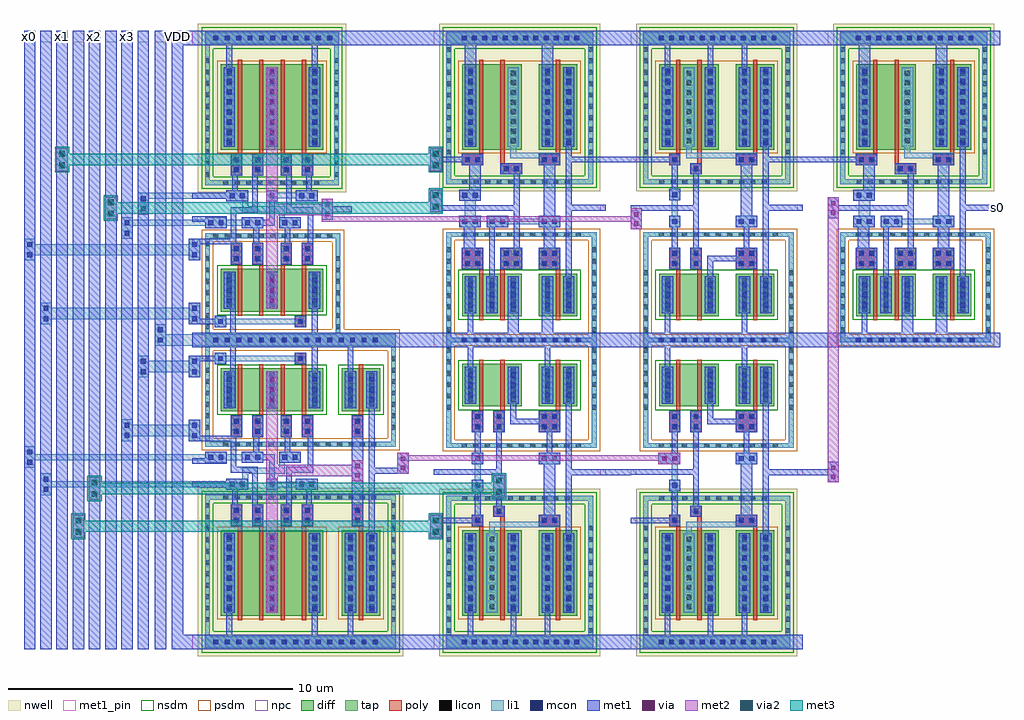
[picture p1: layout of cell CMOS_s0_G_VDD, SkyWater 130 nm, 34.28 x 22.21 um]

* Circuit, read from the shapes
.subckt CMOS_s0_G_VDD GND VDD s0 x0 x0_bar x1 x1_bar x2 x2_bar x3 x3_bar
XM1 n1 x3 GND GND sky130_fd_pr__nfet_01v8 w=1.5 l=0.15
XM2 n2 x0 GND GND sky130_fd_pr__nfet_01v8 w=1.5 l=0.15
XM3 n3 x0 n1 GND sky130_fd_pr__nfet_01v8 w=1.5 l=0.15
XM4 CMOS_AND_G_VDD_5/A x3 n2 GND sky130_fd_pr__nfet_01v8 w=1.5 l=0.15
XM5 n4 x0_bar n3 GND sky130_fd_pr__nfet_01v8 w=1.5 l=0.15
XM6 n5 x3_bar CMOS_AND_G_VDD_5/A GND sky130_fd_pr__nfet_01v8 w=1.5 l=0.15
XM7 GND x3_bar n4 GND sky130_fd_pr__nfet_01v8 w=1.5 l=0.15
XM8 GND x0_bar n5 GND sky130_fd_pr__nfet_01v8 w=1.5 l=0.15
XM9 CMOS_AND_G_VDD_4/B n3 GND GND sky130_fd_pr__nfet_01v8 w=1.5 l=0.15
XM10 n6 x1_bar GND GND sky130_fd_pr__nfet_01v8 w=1.5 l=0.15
XM11 n7 x1 GND GND sky130_fd_pr__nfet_01v8 w=1.5 l=0.15
XM12 n8 x2 n6 GND sky130_fd_pr__nfet_01v8 w=1.5 l=0.15
XM13 GND x2_bar n7 GND sky130_fd_pr__nfet_01v8 w=1.5 l=0.15
XM14 CMOS_AND_G_VDD_4/A n8 GND GND sky130_fd_pr__nfet_01v8 w=1.5 l=0.15
XM15 CMOS_AND_G_VDD_5/B n7 GND GND sky130_fd_pr__nfet_01v8 w=1.5 l=0.15
XM16 n9 CMOS_AND_G_VDD_4/B GND GND sky130_fd_pr__nfet_01v8 w=1.5 l=0.15
XM17 n10 CMOS_AND_G_VDD_5/B GND GND sky130_fd_pr__nfet_01v8 w=1.5 l=0.15
XM18 n11 CMOS_AND_G_VDD_4/A n9 GND sky130_fd_pr__nfet_01v8 w=1.5 l=0.15
XM19 n12 CMOS_AND_G_VDD_5/A n10 GND sky130_fd_pr__nfet_01v8 w=1.5 l=0.15
XM20 CMOS_AND_G_VDD_4/AND n11 GND GND sky130_fd_pr__nfet_01v8 w=1.5 l=0.15
XM21 CMOS_OR_G_VDD_3/A n12 GND GND sky130_fd_pr__nfet_01v8 w=1.5 l=0.15
XM22 n13 CMOS_OR_G_VDD_3/A GND GND sky130_fd_pr__nfet_01v8 w=1.5 l=0.15
XM23 GND CMOS_AND_G_VDD_4/AND n13 GND sky130_fd_pr__nfet_01v8 w=1.5 l=0.15
XM24 s0 n13 GND GND sky130_fd_pr__nfet_01v8 w=1.5 l=0.15
XM25 n14 x0_bar VDD VDD sky130_fd_pr__pfet_01v8 w=3 l=0.15
XM26 n15 x3_bar VDD VDD sky130_fd_pr__pfet_01v8 w=3 l=0.15
XM27 n3 x3 n14 VDD sky130_fd_pr__pfet_01v8 w=3 l=0.15
XM28 CMOS_AND_G_VDD_5/A x0 n15 VDD sky130_fd_pr__pfet_01v8 w=3 l=0.15
XM29 n16 x3_bar n3 VDD sky130_fd_pr__pfet_01v8 w=3 l=0.15
XM30 n17 x0_bar CMOS_AND_G_VDD_5/A VDD sky130_fd_pr__pfet_01v8 w=3 l=0.15
XM31 VDD x0 n16 VDD sky130_fd_pr__pfet_01v8 w=3 l=0.15
XM32 VDD x3 n17 VDD sky130_fd_pr__pfet_01v8 w=3 l=0.15
XM33 CMOS_AND_G_VDD_4/B n3 VDD VDD sky130_fd_pr__pfet_01v8 w=3 l=0.15
XM34 n8 x1_bar VDD VDD sky130_fd_pr__pfet_01v8 w=3 l=0.15
XM35 n18 x1 VDD VDD sky130_fd_pr__pfet_01v8 w=3 l=0.15
XM36 VDD x2 n8 VDD sky130_fd_pr__pfet_01v8 w=3 l=0.15
XM37 n7 x2_bar n18 VDD sky130_fd_pr__pfet_01v8 w=3 l=0.15
XM38 CMOS_AND_G_VDD_4/A n8 VDD VDD sky130_fd_pr__pfet_01v8 w=3 l=0.15
XM39 CMOS_AND_G_VDD_5/B n7 VDD VDD sky130_fd_pr__pfet_01v8 w=3 l=0.15
XM40 n11 CMOS_AND_G_VDD_4/B VDD VDD sky130_fd_pr__pfet_01v8 w=3 l=0.15
XM41 n12 CMOS_AND_G_VDD_5/B VDD VDD sky130_fd_pr__pfet_01v8 w=3 l=0.15
XM42 VDD CMOS_AND_G_VDD_4/A n11 VDD sky130_fd_pr__pfet_01v8 w=3 l=0.15
XM43 VDD CMOS_AND_G_VDD_5/A n12 VDD sky130_fd_pr__pfet_01v8 w=3 l=0.15
XM44 CMOS_AND_G_VDD_4/AND n11 VDD VDD sky130_fd_pr__pfet_01v8 w=3 l=0.15
XM45 CMOS_OR_G_VDD_3/A n12 VDD VDD sky130_fd_pr__pfet_01v8 w=3 l=0.15
XM46 n19 CMOS_OR_G_VDD_3/A VDD VDD sky130_fd_pr__pfet_01v8 w=3 l=0.15
XM47 n13 CMOS_AND_G_VDD_4/AND n19 VDD sky130_fd_pr__pfet_01v8 w=3 l=0.15
XM48 s0 n13 VDD VDD sky130_fd_pr__pfet_01v8 w=3 l=0.15
.ends

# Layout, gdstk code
import gdstk
lib = gdstk.Library(unit=1e-6, precision=1e-09)
def R(c, l, rs):  # rectangles x0, y0, x1, y1
    for r in rs: c.add(gdstk.rectangle(r[:2], r[2:], *l))
def A(c, l, x, y, w, h, nx, ny, dx, dy):  # array of equal rectangles
    R(c, l, [(x+i*dx, y+j*dy, x+i*dx+w, y+j*dy+h) for i in range(nx) for j in range(ny)])
nwell = (64, 20)
diff = (65, 20)
tap = (65, 44)
poly = (66, 20)
licon = (66, 44)
li1 = (67, 20)
mcon = (67, 44)
met1_pin = (68, 16)
met1 = (68, 20)
via = (68, 44)
met2 = (69, 20)
via2 = (69, 44)
met3 = (70, 20)
nsdm = (93, 44)
psdm = (94, 20)
npc = (95, 20)

cmos_xor_g_vdd = lib.new_cell('CMOS_XOR_G_VDD')
R(cmos_xor_g_vdd, nwell, [(0.2,5.56,5.4,11.48)])
R(cmos_xor_g_vdd, diff, [(1,1.375,4.6,2.875), (1,7.06,4.6,10.06)])
R(cmos_xor_g_vdd, tap, [(0.45,0.125,5.205,0.625), (0.45,0.625,0.62,3.955), (5.035,0.625,5.205,3.955), (0.45,3.955,5.205,4.125), (0.45,5.81,5.15,5.98), (0.45,5.98,0.62,10.73), (4.98,5.98,5.15,10.73), (0.45,10.73,5.15,11.23)])
A(cmos_xor_g_vdd, poly, 1.6, 1.225, 0.15, 1.8, 4, 1, 0.75, 0)
A(cmos_xor_g_vdd, poly, 1.6, 6.91, 0.15, 3.3, 4, 1, 0.75, 0)
R(cmos_xor_g_vdd, poly, [(3.6,0.825,4,1.225), (1.35,3.025,1.75,3.785), (2.1,3.025,2.5,3.785), (3.1,3.025,3.5,3.785), (3.85,3.025,4.25,3.785), (1.35,6.15,1.75,6.91), (2.1,6.15,2.5,6.91), (3.1,6.15,3.5,6.91), (3.85,6.15,4.25,6.91)])
A(cmos_xor_g_vdd, licon, 0.745, 0.29, 0.17, 0.17, 11, 2, 0.4, 3.665)
A(cmos_xor_g_vdd, licon, 0.45, 0.75, 0.17, 0.17, 1, 7, 0, 0.4)
A(cmos_xor_g_vdd, licon, 5.035, 0.75, 0.17, 0.17, 1, 7, 0, 0.4)
A(cmos_xor_g_vdd, licon, 1.215, 1.53, 0.17, 0.17, 3, 4, 1.5, 0.34)
A(cmos_xor_g_vdd, licon, 1.09, 5.81, 0.17, 0.17, 9, 1, 0.4, 0)
A(cmos_xor_g_vdd, licon, 0.45, 6.105, 0.17, 0.17, 1, 11, 0, 0.4)
A(cmos_xor_g_vdd, licon, 4.98, 6.105, 0.17, 0.17, 1, 11, 0, 0.4)
A(cmos_xor_g_vdd, licon, 1.215, 7.285, 0.17, 0.17, 3, 8, 1.5, 0.34)
A(cmos_xor_g_vdd, licon, 0.745, 10.895, 0.17, 0.17, 11, 1, 0.4, 0)
R(cmos_xor_g_vdd, licon, [(3.715,0.94,3.885,1.11), (1.465,3.14,1.635,3.31), (2.215,3.14,2.385,3.31), (3.215,3.14,3.385,3.31), (3.965,3.14,4.135,3.31), (1.465,3.5,1.635,3.67), (2.215,3.5,2.385,3.67), (3.215,3.5,3.385,3.67), (3.965,3.5,4.135,3.67), (0.45,3.66,0.62,3.83), (1.465,6.265,1.635,6.435), (2.215,6.265,2.385,6.435), (3.215,6.265,3.385,6.435), (3.965,6.265,4.135,6.435), (1.465,6.625,1.635,6.795), (2.215,6.625,2.385,6.795), (3.215,6.625,3.385,6.795), (3.965,6.625,4.135,6.795)])
A(cmos_xor_g_vdd, li1, 1.1, 1.475, 0.4, 1.3, 3, 1, 1.5, 0)
A(cmos_xor_g_vdd, li1, 1.1, 7.16, 0.4, 2.8, 3, 1, 1.5, 0)
R(cmos_xor_g_vdd, li1, [(0.45,0.175,5.205,0.575), (0.45,0.575,0.62,3.955), (5.035,0.575,5.205,3.955), (0.79,0.825,1.19,0.925), (3.6,0.825,4,0.925), (0.79,0.925,4,1.125), (0.79,1.125,1.19,1.225), (3.6,1.125,4,1.225), (1.35,3.025,1.75,3.785), (2.1,3.025,2.5,3.785), (3.1,3.025,3.5,3.785), (3.85,3.025,4.25,3.785), (0.45,3.955,5.205,4.125), (0.45,4.295,1.21,4.395), (1.74,4.295,2.5,4.395), (3.05,4.295,3.81,4.695), (0.45,4.395,2.5,4.595), (0.45,4.595,1.21,4.695), (1.74,4.595,2.5,4.695), (3.05,4.695,3.25,4.865), (1.76,4.865,3.25,5.065), (1.76,5.065,1.96,5.24), (1.2,5.24,1.96,5.64), (2.6,5.24,3,5.345), (3.64,5.24,4.4,5.345), (2.6,5.345,4.4,5.545), (2.6,5.545,3,5.64), (3.64,5.545,4.4,5.64), (0.45,5.81,5.15,5.98), (0.45,5.98,0.62,10.78), (4.98,5.98,5.15,10.78), (1.35,6.15,1.75,6.91), (2.1,6.15,2.5,6.91), (3.1,6.15,3.5,6.91), (3.85,6.15,4.25,6.91), (0.45,10.78,5.15,11.18)])
A(cmos_xor_g_vdd, mcon, 0.745, 0.29, 0.17, 0.17, 11, 2, 0.4, 10.605)
A(cmos_xor_g_vdd, mcon, 1.215, 1.68, 0.17, 0.17, 3, 3, 1.5, 0.36)
A(cmos_xor_g_vdd, mcon, 1.675, 5.355, 0.17, 0.17, 3, 1, 1.04, 0)
A(cmos_xor_g_vdd, mcon, 1.215, 7.215, 0.17, 0.17, 3, 8, 1.5, 0.36)
R(cmos_xor_g_vdd, mcon, [(0.905,0.94,1.075,1.11), (3.715,0.94,3.885,1.11), (1.465,3.14,1.635,3.31), (2.215,3.14,2.385,3.31), (3.215,3.14,3.385,3.31), (3.965,3.14,4.135,3.31), (1.465,3.5,1.635,3.67), (2.215,3.5,2.385,3.67), (3.215,3.5,3.385,3.67), (3.965,3.5,4.135,3.67), (0.565,4.41,0.735,4.58), (0.925,4.41,1.095,4.58), (1.855,4.41,2.025,4.58), (2.215,4.41,2.385,4.58), (3.165,4.41,3.335,4.58), (3.525,4.41,3.695,4.58), (1.315,5.355,1.485,5.525), (4.115,5.355,4.285,5.525), (1.465,6.265,1.635,6.435), (2.215,6.265,2.385,6.435), (3.215,6.265,3.385,6.435), (3.965,6.265,4.135,6.435), (1.465,6.625,1.635,6.795), (2.215,6.625,2.385,6.795), (3.215,6.625,3.385,6.795), (3.965,6.625,4.135,6.795)])
R(cmos_xor_g_vdd, met1_pin, [(0,0.125,0.5,0.625), (0,0.925,0.2,1.125), (0,3.73,0.2,3.93), (0,4.53,0.2,4.73), (5.4,4.865,5.6,5.065), (0,5.34,0.2,5.54), (0,10.73,0.5,11.23)])
A(cmos_xor_g_vdd, met1, 1.1, 7.16, 0.4, 2.8, 3, 1, 1.5, 0)
R(cmos_xor_g_vdd, met1, [(0,0.125,5.655,0.625), (1.33,0.625,1.53,1.475), (4.2,0.625,4.4,1.475), (0.79,0.825,1.19,0.925), (3.6,0.825,4,1.225), (0,0.925,1.19,1.125), (0.79,1.125,1.19,1.225), (1.1,1.475,1.53,2.775), (2.6,1.475,3,2.775), (4.1,1.475,4.5,2.775), (1.35,3.025,1.75,3.73), (2.1,3.025,2.5,3.785), (3.1,3.025,3.5,3.785), (3.85,3.025,4.25,3.785), (0,3.73,1.75,3.785), (0,3.785,1.55,3.93), (2.15,3.785,2.35,4.295), (3.25,3.785,3.45,4.295), (4.05,3.785,4.25,4.835), (1.35,3.93,1.55,4.835), (0.45,4.295,1.21,4.53), (1.74,4.295,2.5,4.395), (3.05,4.295,3.81,4.695), (1.74,4.395,2.9,4.595), (0,4.53,1.21,4.73), (1.74,4.595,2.5,4.695), (2.7,4.595,2.9,5.24), (4.54,4.605,4.94,4.865), (1.35,4.835,2.3,5.035), (3.3,4.835,4.25,5.035), (4.54,4.865,5.6,5.065), (2.1,5.035,2.3,6.15), (3.3,5.035,3.5,6.15), (4.54,5.065,4.94,5.335), (1.2,5.24,1.96,5.34), (2.6,5.24,3,5.64), (3.64,5.24,4.4,5.64), (0,5.34,1.96,5.54), (1.2,5.54,1.96,5.64), (1.4,5.64,1.6,6.15), (4,5.64,4.2,6.15), (1.35,6.15,1.75,6.91), (2.1,6.15,2.5,6.91), (3.1,6.15,3.5,6.91), (3.85,6.15,4.25,6.91), (1.2,9.96,1.4,10.73), (4.2,9.96,4.4,10.73), (0,10.73,5.6,11.23)])
A(cmos_xor_g_vdd, via, 2.725, 1.69, 0.15, 0.15, 1, 3, 0, 0.36)
A(cmos_xor_g_vdd, via, 2.725, 7.225, 0.15, 0.15, 1, 8, 0, 0.36)
R(cmos_xor_g_vdd, via, [(4.665,4.73,4.815,4.88), (4.665,5.05,4.815,5.2)])
R(cmos_xor_g_vdd, met2, [(2.6,1.475,3,4.765), (4.54,4.605,4.94,4.765), (2.6,4.765,4.94,5.165), (2.6,5.165,3,9.96), (4.54,5.165,4.94,5.335)])
R(cmos_xor_g_vdd, nsdm, [(0.875,1.25,4.725,3), (0.325,5.685,5.275,6.105), (0.325,6.105,0.745,10.605), (4.855,6.105,5.275,10.605), (0.325,10.605,5.275,11.355)])
R(cmos_xor_g_vdd, psdm, [(0.325,0,5.33,0.75), (0.325,0.75,0.745,3.83), (4.91,0.75,5.33,3.83), (0.325,3.83,5.33,4.25), (0.875,6.935,4.725,10.185)])
R(cmos_xor_g_vdd, npc, [(3.615,0.84,3.985,1.21), (1.365,3.04,1.735,3.77), (2.115,3.04,2.485,3.77), (3.115,3.04,3.485,3.77), (3.865,3.04,4.235,3.77), (1.365,6.165,1.735,6.895), (2.115,6.165,2.485,6.895), (3.115,6.165,3.485,6.895), (3.865,6.165,4.235,6.895)])
cmos_xor_g_vdd.add(gdstk.Label('XOR', (5.5,4.965), layer=68, texttype=5))
cmos_xor_g_vdd.add(gdstk.Label('B_bar', (0.1,5.44), layer=68, texttype=5))
cmos_xor_g_vdd.add(gdstk.Label('B', (0.1,4.63), layer=68, texttype=5))
cmos_xor_g_vdd.add(gdstk.Label('A', (0.1,3.83), layer=68, texttype=5))
cmos_xor_g_vdd.add(gdstk.Label('A_bar', (0.1,1.025), layer=68, texttype=5))
cmos_xor_g_vdd.add(gdstk.Label('VDD', (0.25,10.98), layer=68, texttype=5))
cmos_xor_g_vdd.add(gdstk.Label('GND', (0.25,0.375), layer=68, texttype=5))

cmos_xnor_g_vdd = lib.new_cell('CMOS_XNOR_G_VDD')
R(cmos_xnor_g_vdd, nwell, [(0.2,5.56,7.405,11.48)])
R(cmos_xnor_g_vdd, diff, [(1,1.375,4.6,2.875), (5.255,1.375,6.605,2.875), (1,7.06,4.6,10.06), (5.255,7.06,6.605,10.06)])
R(cmos_xnor_g_vdd, tap, [(0.45,0.125,7.155,0.625), (0.45,0.625,0.62,3.955), (6.985,0.625,7.155,3.955), (0.45,3.955,7.155,4.125), (0.45,5.81,7.155,5.98), (0.45,5.98,0.62,10.73), (6.985,5.98,7.155,10.73), (0.45,10.73,7.155,11.23)])
A(cmos_xnor_g_vdd, poly, 1.6, 1.225, 0.15, 1.8, 4, 1, 0.75, 0)
A(cmos_xnor_g_vdd, poly, 1.6, 6.91, 0.15, 3.3, 4, 1, 0.75, 0)
R(cmos_xnor_g_vdd, poly, [(3.6,0.825,4,1.225), (5.855,1.225,6.005,3.025), (1.35,3.025,1.75,3.785), (2.1,3.025,2.5,3.785), (3.1,3.025,3.5,3.785), (3.85,3.025,4.25,3.785), (5.605,3.025,6.005,3.785), (1.35,6.15,1.75,6.91), (2.1,6.15,2.5,6.91), (3.1,6.15,3.5,6.91), (3.85,6.15,4.25,6.91), (5.605,6.15,6.005,6.91), (5.855,6.91,6.005,10.21)])
A(cmos_xnor_g_vdd, licon, 0.745, 0.29, 0.17, 0.17, 15, 2, 0.4, 10.605)
A(cmos_xnor_g_vdd, licon, 0.45, 0.95, 0.17, 0.17, 1, 7, 0, 0.4)
A(cmos_xnor_g_vdd, licon, 6.985, 0.95, 0.17, 0.17, 1, 7, 0, 0.4)
A(cmos_xnor_g_vdd, licon, 1.215, 1.53, 0.17, 0.17, 3, 4, 1.5, 0.34)
A(cmos_xnor_g_vdd, licon, 5.47, 1.53, 0.17, 0.17, 1, 4, 0, 0.34)
A(cmos_xnor_g_vdd, licon, 6.22, 1.53, 0.17, 0.17, 1, 4, 0, 0.34)
A(cmos_xnor_g_vdd, licon, 1.09, 3.955, 0.17, 0.17, 14, 2, 0.4, 1.855)
A(cmos_xnor_g_vdd, licon, 0.45, 6.105, 0.17, 0.17, 1, 11, 0, 0.4)
A(cmos_xnor_g_vdd, licon, 6.985, 6.105, 0.17, 0.17, 1, 11, 0, 0.4)
A(cmos_xnor_g_vdd, licon, 1.215, 7.285, 0.17, 0.17, 3, 8, 1.5, 0.34)
A(cmos_xnor_g_vdd, licon, 5.47, 7.285, 0.17, 0.17, 1, 8, 0, 0.34)
A(cmos_xnor_g_vdd, licon, 6.22, 7.285, 0.17, 0.17, 1, 8, 0, 0.34)
R(cmos_xnor_g_vdd, licon, [(3.715,0.94,3.885,1.11), (1.465,3.14,1.635,3.31), (2.215,3.14,2.385,3.31), (3.215,3.14,3.385,3.31), (3.965,3.14,4.135,3.31), (5.72,3.14,5.89,3.31), (1.465,3.5,1.635,3.67), (2.215,3.5,2.385,3.67), (3.215,3.5,3.385,3.67), (3.965,3.5,4.135,3.67), (5.72,3.5,5.89,3.67), (1.465,6.265,1.635,6.435), (2.215,6.265,2.385,6.435), (3.215,6.265,3.385,6.435), (3.965,6.265,4.135,6.435), (5.72,6.265,5.89,6.435), (1.465,6.625,1.635,6.795), (2.215,6.625,2.385,6.795), (3.215,6.625,3.385,6.795), (3.965,6.625,4.135,6.795), (5.72,6.625,5.89,6.795)])
A(cmos_xnor_g_vdd, li1, 1.1, 1.475, 0.4, 1.3, 3, 1, 1.5, 0)
A(cmos_xnor_g_vdd, li1, 1.1, 7.16, 0.4, 2.8, 3, 1, 1.5, 0)
R(cmos_xnor_g_vdd, li1, [(0.45,0.175,7.155,0.575), (0.45,0.575,0.62,3.955), (6.985,0.575,7.155,3.955), (0.79,0.825,1.19,0.925), (3.6,0.825,4,0.925), (0.79,0.925,4,1.125), (0.79,1.125,1.19,1.225), (3.6,1.125,4,1.225), (5.355,1.475,5.755,2.775), (6.105,1.475,6.505,2.775), (1.35,3.025,1.75,3.785), (2.1,3.025,2.5,3.785), (3.1,3.025,3.5,3.785), (3.85,3.025,4.25,3.785), (5.605,3.025,6.005,3.785), (0.45,3.955,7.155,4.125), (0.45,4.295,1.21,4.395), (1.74,4.295,2.5,4.395), (3.05,4.295,3.81,4.695), (0.45,4.395,2.5,4.595), (0.45,4.595,1.21,4.695), (1.74,4.595,2.5,4.695), (3.05,4.695,3.25,4.865), (1.76,4.865,3.25,5.065), (1.76,5.065,1.96,5.24), (1.2,5.24,1.96,5.64), (2.6,5.24,3,5.345), (3.64,5.24,4.4,5.345), (2.6,5.345,4.4,5.545), (2.6,5.545,3,5.64), (3.64,5.545,4.4,5.64), (0.45,5.81,7.155,5.98), (0.45,5.98,0.62,10.78), (6.985,5.98,7.155,10.78), (1.35,6.15,1.75,6.91), (2.1,6.15,2.5,6.91), (3.1,6.15,3.5,6.91), (3.85,6.15,4.25,6.91), (5.605,6.15,6.005,6.91), (5.355,7.16,5.755,9.96), (6.105,7.16,6.505,9.96), (0.45,10.78,7.155,11.18)])
A(cmos_xnor_g_vdd, mcon, 0.745, 0.29, 0.17, 0.17, 15, 2, 0.4, 10.605)
A(cmos_xnor_g_vdd, mcon, 1.215, 1.68, 0.17, 0.17, 3, 3, 1.5, 0.36)
A(cmos_xnor_g_vdd, mcon, 5.47, 1.68, 0.17, 0.17, 1, 3, 0, 0.36)
A(cmos_xnor_g_vdd, mcon, 6.22, 1.68, 0.17, 0.17, 1, 3, 0, 0.36)
A(cmos_xnor_g_vdd, mcon, 1.675, 5.355, 0.17, 0.17, 3, 1, 1.04, 0)
A(cmos_xnor_g_vdd, mcon, 1.215, 7.215, 0.17, 0.17, 3, 8, 1.5, 0.36)
A(cmos_xnor_g_vdd, mcon, 5.47, 7.215, 0.17, 0.17, 1, 8, 0, 0.36)
A(cmos_xnor_g_vdd, mcon, 6.22, 7.215, 0.17, 0.17, 1, 8, 0, 0.36)
R(cmos_xnor_g_vdd, mcon, [(0.905,0.94,1.075,1.11), (3.715,0.94,3.885,1.11), (1.465,3.14,1.635,3.31), (2.215,3.14,2.385,3.31), (3.215,3.14,3.385,3.31), (3.965,3.14,4.135,3.31), (5.72,3.14,5.89,3.31), (1.465,3.5,1.635,3.67), (2.215,3.5,2.385,3.67), (3.215,3.5,3.385,3.67), (3.965,3.5,4.135,3.67), (5.72,3.5,5.89,3.67), (0.565,4.41,0.735,4.58), (0.925,4.41,1.095,4.58), (1.855,4.41,2.025,4.58), (2.215,4.41,2.385,4.58), (3.165,4.41,3.335,4.58), (3.525,4.41,3.695,4.58), (1.315,5.355,1.485,5.525), (4.115,5.355,4.285,5.525), (1.465,6.265,1.635,6.435), (2.215,6.265,2.385,6.435), (3.215,6.265,3.385,6.435), (3.965,6.265,4.135,6.435), (5.72,6.265,5.89,6.435), (1.465,6.625,1.635,6.795), (2.215,6.625,2.385,6.795), (3.215,6.625,3.385,6.795), (3.965,6.625,4.135,6.795), (5.72,6.625,5.89,6.795)])
R(cmos_xnor_g_vdd, met1_pin, [(0,0.125,0.5,0.625), (0,0.925,0.2,1.125), (0,3.73,0.2,3.93), (0,4.53,0.2,4.73), (7.405,4.865,7.605,5.065), (0,5.34,0.2,5.54), (0,10.73,0.5,11.23)])
A(cmos_xnor_g_vdd, met1, 1.1, 7.16, 0.4, 2.8, 3, 1, 1.5, 0)
R(cmos_xnor_g_vdd, met1, [(0,0.125,7.605,0.625), (1.33,0.625,1.53,1.475), (4.2,0.625,4.4,1.475), (5.455,0.625,5.655,1.475), (0.79,0.825,1.19,0.925), (3.6,0.825,4,1.225), (0,0.925,1.19,1.125), (0.79,1.125,1.19,1.225), (1.1,1.475,1.53,2.775), (2.6,1.475,3,2.775), (4.1,1.475,4.5,2.775), (5.355,1.475,5.755,2.775), (6.105,1.475,6.505,2.775), (6.205,2.775,6.405,4.865), (1.35,3.025,1.75,3.73), (2.1,3.025,2.5,3.785), (3.1,3.025,3.5,3.785), (3.85,3.025,4.25,3.785), (5.605,3.025,6.005,6.91), (0,3.73,1.75,3.785), (0,3.785,1.55,3.93), (2.15,3.785,2.35,4.295), (3.25,3.785,3.45,4.295), (4.05,3.785,4.25,4.835), (1.35,3.93,1.55,4.835), (0.45,4.295,1.21,4.53), (1.74,4.295,2.5,4.395), (3.05,4.295,3.81,4.695), (1.74,4.395,2.9,4.595), (0,4.53,1.21,4.73), (1.74,4.595,2.5,4.695), (2.7,4.595,2.9,5.24), (1.35,4.835,2.3,5.035), (3.3,4.835,4.25,5.035), (6.205,4.865,7.605,5.065), (2.1,5.035,2.3,6.15), (3.3,5.035,3.5,6.15), (6.205,5.065,6.405,7.16), (1.2,5.24,1.96,5.34), (2.6,5.24,3,5.64), (3.64,5.24,4.4,5.64), (0,5.34,1.96,5.54), (1.2,5.54,1.96,5.64), (1.4,5.64,1.6,6.15), (4,5.64,4.2,6.15), (1.35,6.15,1.75,6.91), (2.1,6.15,2.5,6.91), (3.1,6.15,3.5,6.91), (3.85,6.15,4.25,6.91), (5.355,7.16,5.755,9.96), (6.105,7.16,6.505,9.96), (1.2,9.96,1.4,10.73), (4.2,9.96,4.4,10.73), (5.455,9.96,5.655,10.73), (0,10.73,7.605,11.23)])
A(cmos_xnor_g_vdd, via, 2.725, 1.69, 0.15, 0.15, 1, 3, 0, 0.36)
A(cmos_xnor_g_vdd, via, 2.725, 7.225, 0.15, 0.15, 1, 8, 0, 0.36)
R(cmos_xnor_g_vdd, via, [(5.73,4.73,5.88,4.88), (5.73,5.05,5.88,5.2)])
R(cmos_xnor_g_vdd, met2, [(2.6,1.475,3,4.765), (5.605,4.605,6.005,4.765), (2.6,4.765,6.005,5.165), (2.6,5.165,3,9.96), (5.605,5.165,6.005,5.335)])
R(cmos_xnor_g_vdd, nsdm, [(0.875,1.25,4.725,3), (5.13,1.25,6.73,3), (0.325,5.685,7.28,6.105), (0.325,6.105,0.745,10.605), (6.86,6.105,7.28,10.605), (0.325,10.605,7.28,11.355)])
R(cmos_xnor_g_vdd, psdm, [(0.325,0,7.28,0.75), (0.325,0.75,0.745,3.83), (6.86,0.75,7.28,3.83), (0.325,3.83,7.28,4.25), (0.875,6.935,4.725,10.185), (5.13,6.935,6.73,10.185)])
R(cmos_xnor_g_vdd, npc, [(3.615,0.84,3.985,1.21), (1.365,3.04,1.735,3.77), (2.115,3.04,2.485,3.77), (3.115,3.04,3.485,3.77), (3.865,3.04,4.235,3.77), (5.62,3.04,5.99,3.77), (1.365,6.165,1.735,6.895), (2.115,6.165,2.485,6.895), (3.115,6.165,3.485,6.895), (3.865,6.165,4.235,6.895), (5.62,6.165,5.99,6.895)])
cmos_xnor_g_vdd.add(gdstk.Label('B_bar', (0.1,5.44), layer=68, texttype=5))
cmos_xnor_g_vdd.add(gdstk.Label('B', (0.1,4.63), layer=68, texttype=5))
cmos_xnor_g_vdd.add(gdstk.Label('A', (0.1,3.83), layer=68, texttype=5))
cmos_xnor_g_vdd.add(gdstk.Label('A_bar', (0.1,1.025), layer=68, texttype=5))
cmos_xnor_g_vdd.add(gdstk.Label('XNOR', (7.505,4.965), layer=68, texttype=5))
cmos_xnor_g_vdd.add(gdstk.Label('VDD', (0.25,10.98), layer=68, texttype=5))
cmos_xnor_g_vdd.add(gdstk.Label('GND', (0.25,0.375), layer=68, texttype=5))

cmos_or_g_vdd = lib.new_cell('CMOS_OR_G_VDD')
R(cmos_or_g_vdd, nwell, [(0.2,4.915,5.85,10.795)])
R(cmos_or_g_vdd, diff, [(1,0.525,3.1,2.025), (3.7,0.525,5.05,2.025), (1,6.375,3.1,9.375), (3.7,6.375,5.05,9.375)])
R(cmos_or_g_vdd, tap, [(0.45,-0.395,5.73,-0.225), (0.45,-0.225,0.62,3.31), (5.56,-0.225,5.73,3.31), (0.45,3.31,5.73,3.48), (0.45,5.165,5.6,5.335), (0.45,5.335,0.62,10.045), (5.43,5.335,5.6,10.045), (0.45,10.045,5.6,10.545)])
R(cmos_or_g_vdd, poly, [(1.6,0.375,1.75,2.175), (2.35,0.375,2.5,2.175), (4.3,0.375,4.45,2.175), (0.99,2.175,1.75,2.935), (2.35,2.175,3.11,2.935), (3.69,2.175,4.45,2.935), (2.35,5.505,3.11,5.905), (0.99,5.825,1.75,6.225), (3.69,5.825,4.45,6.225), (2.35,5.905,2.5,9.525), (1.6,6.225,1.75,9.525), (4.3,6.225,4.45,9.525)])
A(cmos_or_g_vdd, licon, 0.995, -0.395, 0.17, 0.17, 11, 2, 0.4, 3.705)
A(cmos_or_g_vdd, licon, 0.45, -0.03, 0.17, 0.17, 1, 8, 0, 0.4)
A(cmos_or_g_vdd, licon, 5.56, -0.03, 0.17, 0.17, 1, 8, 0, 0.4)
A(cmos_or_g_vdd, licon, 1.215, 0.68, 0.17, 0.17, 3, 4, 0.75, 0.34)
A(cmos_or_g_vdd, licon, 3.915, 0.68, 0.17, 0.17, 1, 4, 0, 0.34)
A(cmos_or_g_vdd, licon, 4.665, 0.68, 0.17, 0.17, 1, 4, 0, 0.34)
A(cmos_or_g_vdd, licon, 1.015, 5.165, 0.17, 0.17, 10, 1, 0.4, 0)
A(cmos_or_g_vdd, licon, 0.45, 6.21, 0.17, 0.17, 1, 10, 0, 0.4)
A(cmos_or_g_vdd, licon, 5.43, 6.21, 0.17, 0.17, 1, 10, 0, 0.4)
A(cmos_or_g_vdd, licon, 1.215, 6.6, 0.17, 0.17, 1, 8, 0, 0.34)
A(cmos_or_g_vdd, licon, 2.715, 6.6, 0.17, 0.17, 1, 8, 0, 0.34)
A(cmos_or_g_vdd, licon, 3.915, 6.6, 0.17, 0.17, 1, 8, 0, 0.34)
A(cmos_or_g_vdd, licon, 4.665, 6.6, 0.17, 0.17, 1, 8, 0, 0.34)
A(cmos_or_g_vdd, licon, 0.99, 10.21, 0.17, 0.17, 12, 1, 0.36, 0)
R(cmos_or_g_vdd, licon, [(1.105,2.29,1.275,2.46), (1.465,2.29,1.635,2.46), (2.465,2.29,2.635,2.46), (2.825,2.29,2.995,2.46), (3.805,2.29,3.975,2.46), (4.165,2.29,4.335,2.46), (1.105,2.65,1.275,2.82), (1.465,2.65,1.635,2.82), (2.465,2.65,2.635,2.82), (2.825,2.65,2.995,2.82), (3.805,2.65,3.975,2.82), (4.165,2.65,4.335,2.82), (2.465,5.62,2.635,5.79), (2.825,5.62,2.995,5.79), (1.105,5.94,1.275,6.11), (1.465,5.94,1.635,6.11), (3.805,5.94,3.975,6.11), (4.165,5.94,4.335,6.11)])
A(cmos_or_g_vdd, li1, 1.1, 0.625, 0.4, 1.3, 3, 1, 0.75, 0)
R(cmos_or_g_vdd, li1, [(0.45,-0.395,5.73,-0.225), (0.45,-0.225,0.62,3.31), (5.56,-0.225,5.73,3.31), (3.8,0.625,4.2,1.925), (4.55,0.625,4.95,1.925), (0.99,2.175,1.75,2.935), (2.35,2.175,3.11,2.935), (3.69,2.175,4.45,2.935), (0.45,3.31,5.73,3.48), (0.9,3.65,1.66,4.05), (1.86,3.65,2.62,3.75), (3.69,3.65,4.45,3.75), (1.86,3.75,4.45,3.95), (1.86,3.95,2.62,4.05), (3.69,3.95,4.45,4.05), (1.09,4.05,1.49,4.575), (0.9,4.575,1.66,4.975), (0.45,5.165,5.6,5.335), (0.45,5.335,0.62,10.095), (5.43,5.335,5.6,10.095), (2.35,5.505,3.11,5.905), (0.99,5.825,1.75,6.225), (3.69,5.825,4.45,6.075), (2.7,6.075,4.45,6.275), (2.7,6.275,2.9,6.475), (1.1,6.475,1.5,9.275), (2.6,6.475,3,9.275), (3.8,6.475,4.2,9.275), (4.55,6.475,4.95,9.275), (0.45,10.095,5.6,10.495)])
A(cmos_or_g_vdd, mcon, 0.995, -0.395, 0.17, 0.17, 11, 1, 0.4, 0)
A(cmos_or_g_vdd, mcon, 1.215, 0.83, 0.17, 0.17, 3, 3, 0.75, 0.36)
A(cmos_or_g_vdd, mcon, 3.915, 0.83, 0.17, 0.17, 1, 3, 0, 0.36)
A(cmos_or_g_vdd, mcon, 4.665, 0.83, 0.17, 0.17, 1, 3, 0, 0.36)
A(cmos_or_g_vdd, mcon, 1.215, 6.53, 0.17, 0.17, 1, 8, 0, 0.36)
A(cmos_or_g_vdd, mcon, 3.915, 6.53, 0.17, 0.17, 1, 8, 0, 0.36)
A(cmos_or_g_vdd, mcon, 4.665, 6.53, 0.17, 0.17, 1, 8, 0, 0.36)
A(cmos_or_g_vdd, mcon, 0.99, 10.21, 0.17, 0.17, 12, 1, 0.36, 0)
R(cmos_or_g_vdd, mcon, [(1.105,2.29,1.275,2.46), (1.465,2.29,1.635,2.46), (2.465,2.29,2.635,2.46), (2.825,2.29,2.995,2.46), (3.805,2.29,3.975,2.46), (4.165,2.29,4.335,2.46), (1.105,2.65,1.275,2.82), (1.465,2.65,1.635,2.82), (2.465,2.65,2.635,2.82), (2.825,2.65,2.995,2.82), (3.805,2.65,3.975,2.82), (4.165,2.65,4.335,2.82), (1.015,3.765,1.185,3.935), (1.375,3.765,1.545,3.935), (1.975,3.765,2.145,3.935), (2.335,3.765,2.505,3.935), (3.805,3.765,3.975,3.935), (4.165,3.765,4.335,3.935), (1.015,4.69,1.185,4.86), (1.375,4.69,1.545,4.86), (2.465,5.62,2.635,5.79), (2.825,5.62,2.995,5.79), (1.105,5.94,1.275,6.11), (1.465,5.94,1.635,6.11), (3.805,5.94,3.975,6.11), (4.165,5.94,4.335,6.11)])
R(cmos_or_g_vdd, met1_pin, [(0,-0.56,0.5,-0.06), (0,4.225,0.205,4.425), (5.85,4.235,6.05,4.435), (0,5.925,0.205,6.125), (0,10.045,0.5,10.545)])
R(cmos_or_g_vdd, met1, [(0,-0.56,6.055,-0.06), (1.2,-0.06,1.4,0.625), (2.6,-0.06,3,1.925), (3.8,-0.06,4.2,1.925), (1.1,0.625,1.5,1.925), (1.85,0.625,2.25,1.925), (4.55,0.625,4.95,1.925), (1.95,1.925,2.15,3.65), (4.65,1.925,4.85,4.235), (0.99,2.175,1.75,2.935), (2.35,2.175,3.11,2.935), (3.69,2.175,4.45,2.935), (1.06,2.935,1.46,3.65), (2.82,2.935,3.02,4.225), (3.87,2.935,4.27,3.65), (0.9,3.65,1.66,4.05), (1.86,3.65,2.62,4.05), (3.69,3.65,4.45,4.05), (3.87,4.05,4.27,5.825), (0,4.225,3.02,4.425), (4.65,4.235,6.05,4.435), (2.82,4.425,3.02,5.505), (4.65,4.435,4.85,6.475), (0.9,4.575,1.66,4.975), (1.26,4.975,1.66,5.825), (2.35,5.505,3.11,5.905), (0.99,5.825,1.75,5.925), (3.69,5.825,4.45,6.225), (0,5.925,1.75,6.125), (0.99,6.125,1.75,6.225), (1.1,6.475,1.5,10.045), (3.8,6.475,4.2,10.045), (4.55,6.475,4.95,9.275), (0,10.045,6.055,10.545)])
R(cmos_or_g_vdd, nsdm, [(0.875,0.4,5.175,2.15), (0.325,5.04,5.725,5.46), (0.325,5.46,0.745,9.92), (5.305,5.46,5.725,9.92), (0.325,9.92,5.725,10.67)])
R(cmos_or_g_vdd, psdm, [(0.325,-0.52,5.855,-0.1), (0.325,-0.1,0.745,3.185), (5.435,-0.1,5.855,3.185), (0.325,3.185,5.855,3.605), (0.875,6.25,5.175,9.5)])
R(cmos_or_g_vdd, npc, [(1.005,2.19,1.735,2.92), (2.365,2.19,3.095,2.92), (3.705,2.19,4.435,2.92), (2.365,5.52,3.095,5.89), (1.005,5.84,1.735,6.21), (3.705,5.84,4.435,6.21)])
cmos_or_g_vdd.add(gdstk.Label('GND', (0.25,-0.31), layer=68, texttype=5))
cmos_or_g_vdd.add(gdstk.Label('OR', (5.95,4.335), layer=68, texttype=5))
cmos_or_g_vdd.add(gdstk.Label('B', (0.102,4.325), layer=68, texttype=5))
cmos_or_g_vdd.add(gdstk.Label('A', (0.102,6.025), layer=68, texttype=5))
cmos_or_g_vdd.add(gdstk.Label('VDD', (0.25,10.295), layer=68, texttype=5))

cmos_and_g_vdd = lib.new_cell('CMOS_AND_G_VDD')
R(cmos_and_g_vdd, nwell, [(0.2,4.915,5.85,10.795)])
R(cmos_and_g_vdd, diff, [(1,0.525,3.1,2.025), (3.7,0.525,5.05,2.025), (1,6.375,3.1,9.375), (3.7,6.375,5.05,9.375)])
R(cmos_and_g_vdd, tap, [(0.45,-0.395,5.73,-0.225), (0.45,-0.225,0.62,3.31), (5.56,-0.225,5.73,3.31), (0.45,3.31,5.73,3.48), (0.45,5.165,5.6,5.335), (0.45,5.335,0.62,10.045), (5.43,5.335,5.6,10.045), (0.45,10.045,5.6,10.545)])
R(cmos_and_g_vdd, poly, [(1.6,0.375,1.75,2.175), (2.35,0.375,2.5,2.175), (4.3,0.375,4.45,2.175), (1.35,2.175,1.75,2.935), (2.1,2.175,2.5,2.935), (3.69,2.175,4.45,2.935), (2.1,5.505,2.5,5.905), (1.35,5.825,1.75,6.225), (3.69,5.825,4.45,6.225), (2.35,5.905,2.5,9.525), (1.6,6.225,1.75,9.525), (4.3,6.225,4.45,9.525)])
A(cmos_and_g_vdd, licon, 0.995, -0.395, 0.17, 0.17, 11, 2, 0.4, 3.705)
A(cmos_and_g_vdd, licon, 0.45, -0.03, 0.17, 0.17, 1, 6, 0, 0.4)
A(cmos_and_g_vdd, licon, 5.56, -0.03, 0.17, 0.17, 1, 6, 0, 0.4)
A(cmos_and_g_vdd, licon, 1.215, 0.68, 0.17, 0.17, 1, 4, 0, 0.34)
A(cmos_and_g_vdd, licon, 2.715, 0.68, 0.17, 0.17, 1, 4, 0, 0.34)
A(cmos_and_g_vdd, licon, 3.915, 0.68, 0.17, 0.17, 1, 4, 0, 0.34)
A(cmos_and_g_vdd, licon, 4.665, 0.68, 0.17, 0.17, 1, 4, 0, 0.34)
A(cmos_and_g_vdd, licon, 1.015, 5.165, 0.17, 0.17, 10, 1, 0.4, 0)
A(cmos_and_g_vdd, licon, 0.45, 6.21, 0.17, 0.17, 1, 10, 0, 0.4)
A(cmos_and_g_vdd, licon, 5.43, 6.21, 0.17, 0.17, 1, 10, 0, 0.4)
A(cmos_and_g_vdd, licon, 1.215, 6.6, 0.17, 0.17, 3, 8, 0.75, 0.34)
A(cmos_and_g_vdd, licon, 3.915, 6.6, 0.17, 0.17, 1, 8, 0, 0.34)
A(cmos_and_g_vdd, licon, 4.665, 6.6, 0.17, 0.17, 1, 8, 0, 0.34)
A(cmos_and_g_vdd, licon, 0.99, 10.21, 0.17, 0.17, 12, 1, 0.36, 0)
R(cmos_and_g_vdd, licon, [(1.465,2.29,1.635,2.46), (2.215,2.29,2.385,2.46), (3.805,2.29,3.975,2.46), (4.165,2.29,4.335,2.46), (1.465,2.65,1.635,2.82), (2.215,2.65,2.385,2.82), (3.805,2.65,3.975,2.82), (4.165,2.65,4.335,2.82), (2.215,5.62,2.385,5.79), (1.465,5.94,1.635,6.11), (3.805,5.94,3.975,6.11), (4.165,5.94,4.335,6.11)])
A(cmos_and_g_vdd, li1, 1.1, 6.475, 0.4, 2.8, 3, 1, 0.75, 0)
R(cmos_and_g_vdd, li1, [(0.45,-0.395,5.73,-0.225), (0.45,-0.225,0.62,3.31), (5.56,-0.225,5.73,3.31), (1.1,0.625,1.5,1.925), (2.6,0.625,3,1.925), (3.8,0.625,4.2,1.925), (4.55,0.625,4.95,1.925), (1.35,2.175,1.75,2.935), (2.1,2.175,2.5,2.935), (3.69,2.175,4.45,2.935), (0.45,3.31,5.73,3.48), (1.35,3.65,1.75,4.05), (3.69,3.65,4.45,4.05), (1.45,4.05,1.65,4.595), (1.35,4.595,1.75,4.995), (0.45,5.165,5.6,5.335), (0.45,5.335,0.62,10.095), (5.43,5.335,5.6,10.095), (2.1,5.505,2.5,5.905), (1.35,5.825,1.75,6.225), (3.69,5.825,4.45,6.075), (1.95,6.075,4.45,6.275), (1.95,6.275,2.15,6.475), (3.8,6.475,4.2,9.275), (4.55,6.475,4.95,9.275), (0.45,10.095,5.6,10.495)])
A(cmos_and_g_vdd, mcon, 0.995, -0.395, 0.17, 0.17, 11, 1, 0.4, 0)
A(cmos_and_g_vdd, mcon, 1.215, 0.83, 0.17, 0.17, 1, 3, 0, 0.36)
A(cmos_and_g_vdd, mcon, 2.715, 0.83, 0.17, 0.17, 1, 3, 0, 0.36)
A(cmos_and_g_vdd, mcon, 3.915, 0.83, 0.17, 0.17, 1, 3, 0, 0.36)
A(cmos_and_g_vdd, mcon, 4.665, 0.83, 0.17, 0.17, 1, 3, 0, 0.36)
A(cmos_and_g_vdd, mcon, 1.215, 6.53, 0.17, 0.17, 1, 8, 0, 0.36)
A(cmos_and_g_vdd, mcon, 2.715, 6.53, 0.17, 0.17, 1, 8, 0, 0.36)
A(cmos_and_g_vdd, mcon, 3.915, 6.53, 0.17, 0.17, 1, 8, 0, 0.36)
A(cmos_and_g_vdd, mcon, 4.665, 6.53, 0.17, 0.17, 1, 8, 0, 0.36)
A(cmos_and_g_vdd, mcon, 0.99, 10.21, 0.17, 0.17, 12, 1, 0.36, 0)
R(cmos_and_g_vdd, mcon, [(1.465,2.29,1.635,2.46), (2.215,2.29,2.385,2.46), (3.805,2.29,3.975,2.46), (4.165,2.29,4.335,2.46), (1.465,2.65,1.635,2.82), (2.215,2.65,2.385,2.82), (3.805,2.65,3.975,2.82), (4.165,2.65,4.335,2.82), (1.465,3.765,1.635,3.935), (3.805,3.765,3.975,3.935), (4.165,3.765,4.335,3.935), (1.465,4.71,1.635,4.88), (2.215,5.62,2.385,5.79), (1.465,5.94,1.635,6.11), (3.805,5.94,3.975,6.11), (4.165,5.94,4.335,6.11)])
R(cmos_and_g_vdd, met1_pin, [(0,-0.56,0.5,-0.06), (0,4.225,0.205,4.425), (5.85,4.235,6.05,4.435), (0,5.925,0.205,6.125), (0,10.045,0.5,10.545)])
R(cmos_and_g_vdd, met1, [(0,-0.56,6.055,-0.06), (1.2,-0.06,1.4,0.625), (3.9,-0.06,4.1,0.625), (1.1,0.625,1.5,1.925), (2.6,0.625,3,1.925), (3.8,0.625,4.2,1.925), (4.55,0.625,4.95,1.925), (2.7,1.925,2.9,2.455), (4.65,1.925,4.85,4.235), (1.35,2.175,1.75,2.935), (2.1,2.175,2.5,2.935), (3.69,2.175,4.45,2.455), (2.7,2.455,4.45,2.655), (3.69,2.655,4.45,2.935), (1.45,2.935,1.65,3.65), (2.2,2.935,2.4,4.225), (3.97,2.935,4.17,3.65), (1.35,3.65,1.75,4.05), (3.69,3.65,4.45,4.05), (3.87,4.05,4.27,5.825), (0,4.225,2.4,4.425), (4.65,4.235,6.05,4.435), (2.2,4.425,2.4,5.505), (4.65,4.435,4.85,6.475), (1.35,4.595,1.75,4.995), (1.45,4.995,1.65,5.825), (2.1,5.505,2.5,5.905), (1.35,5.825,1.75,5.925), (3.69,5.825,4.45,6.225), (0,5.925,1.75,6.125), (1.35,6.125,1.75,6.225), (1.1,6.475,1.5,9.275), (2.6,6.475,3,9.275), (3.8,6.475,4.2,9.275), (4.55,6.475,4.95,9.275), (1.2,9.275,1.4,10.045), (2.705,9.275,2.905,10.045), (3.9,9.275,4.1,10.045), (0,10.045,6.055,10.545)])
R(cmos_and_g_vdd, nsdm, [(0.875,0.4,5.175,2.15), (0.325,5.04,5.725,5.46), (0.325,5.46,0.745,9.92), (5.305,5.46,5.725,9.92), (0.325,9.92,5.725,10.67)])
R(cmos_and_g_vdd, psdm, [(0.325,-0.52,5.855,-0.1), (0.325,-0.1,0.745,3.185), (5.435,-0.1,5.855,3.185), (0.325,3.185,5.855,3.605), (0.875,6.25,5.175,9.5)])
R(cmos_and_g_vdd, npc, [(1.365,2.19,1.735,2.92), (2.115,2.19,2.485,2.92), (3.705,2.19,4.435,2.92), (2.115,5.52,2.485,5.89), (1.365,5.84,1.735,6.21), (3.705,5.84,4.435,6.21)])
cmos_and_g_vdd.add(gdstk.Label('GND', (0.25,-0.31), layer=68, texttype=5))
cmos_and_g_vdd.add(gdstk.Label('A', (0.102,4.325), layer=68, texttype=5))
cmos_and_g_vdd.add(gdstk.Label('B', (0.102,6.025), layer=68, texttype=5))
cmos_and_g_vdd.add(gdstk.Label('AND', (5.95,4.335), layer=68, texttype=5))
cmos_and_g_vdd.add(gdstk.Label('VDD', (0.25,10.295), layer=68, texttype=5))

cmos_s0_g_vdd = lib.new_cell('CMOS_s0_G_VDD')
R(cmos_s0_g_vdd, li1, [(0.57,5.66,0.97,5.94), (0.57,5.94,7.11,6.14), (0.57,6.14,0.97,6.42), (0,6.61,0.4,6.885), (22.285,6.745,22.695,7.145), (0,6.885,6.36,7.085), (0,7.085,0.4,7.37), (5.79,7.55,6.19,7.73), (3.42,7.555,3.82,7.73), (3.42,7.73,6.19,8.13), (3.42,8.13,3.82,8.315), (5.79,8.13,6.19,8.31), (3.99,9.795,4.39,9.975), (5.79,9.795,6.19,9.975), (3.99,9.975,6.19,10.375), (3.99,10.375,4.39,10.555), (5.79,10.375,6.19,10.555), (4.59,10.905,6.36,11.305), (4.59,11.305,4.99,11.665), (0.57,11.655,0.97,11.835), (5.79,11.655,6.19,11.835), (0.57,11.835,6.19,12.235), (0.57,12.235,0.97,12.415), (5.79,12.235,6.19,12.415), (0,13.9,0.4,14.075), (5.79,13.9,6.19,14.075), (0,14.075,6.19,14.475), (0,14.475,0.4,14.66), (5.79,14.475,6.19,14.66), (3.42,14.66,3.82,15.125), (3.42,15.125,6.36,15.325), (3.42,15.325,3.82,15.42), (3.99,15.51,4.39,16.07), (3.99,16.07,7.11,16.27)])
R(cmos_s0_g_vdd, mcon, [(0.685,5.775,0.855,5.945), (0.685,6.135,0.855,6.305), (0.115,6.725,0.285,6.895), (22.41,6.86,22.58,7.03), (0.115,7.085,0.285,7.255), (5.905,7.665,6.075,7.835), (3.535,7.67,3.705,7.84), (5.905,8.025,6.075,8.195), (3.535,8.03,3.705,8.2), (4.105,9.91,4.275,10.08), (5.905,9.91,6.075,10.08), (4.105,10.27,4.275,10.44), (5.905,10.27,6.075,10.44), (4.705,11.02,4.875,11.19), (4.705,11.38,4.875,11.55), (0.685,11.77,0.855,11.94), (5.905,11.77,6.075,11.94), (0.685,12.13,0.855,12.3), (5.905,12.13,6.075,12.3), (0.115,14.015,0.285,14.185), (5.905,14.015,6.075,14.185), (0.115,14.375,0.285,14.545), (5.905,14.375,6.075,14.545), (3.535,14.775,3.705,14.945), (3.535,15.135,3.705,15.305), (4.105,15.625,4.275,15.795), (4.105,15.985,4.275,16.155)])
A(cmos_s0_g_vdd, met1_pin, 0, 21.56, 0.4, 0.4, 8, 1, 0.57, 0)
R(cmos_s0_g_vdd, met1_pin, [(34.075,15.65,34.275,15.85), (4.59,21.56,4.99,21.96), (5.19,21.56,5.59,21.96)])
A(cmos_s0_g_vdd, met1, 0, 0.245, 0.4, 21.715, 4, 1, 0.57, 0)
R(cmos_s0_g_vdd, met1, [(2.85,0.245,3.25,21.96), (2.28,0.25,2.68,21.96), (3.42,0.25,3.82,21.96), (3.99,0.25,4.39,21.96), (4.59,0.25,4.99,21.96), (5.19,0.25,27.36,0.75), (5.19,0.75,5.59,21.46), (14.265,4.165,14.665,4.965), (16.485,5.57,16.885,6.37), (28.225,6.1,28.625,6.36), (20.435,6.36,21.305,6.56), (27.355,6.36,28.625,6.56), (13.115,6.415,13.515,7.145), (28.225,6.56,28.625,6.83), (22.285,6.745,23.055,7.145), (5.79,7.55,6.19,8.31), (5.79,9.795,6.19,10.555), (5.91,10.855,34.28,11.355), (5.79,11.655,6.19,12.415), (5.79,13.9,6.19,14.66), (21.305,14.995,21.705,15.725), (28.225,15.385,28.625,16.115), (14.265,15.59,14.665,16.39), (34.075,15.65,34.275,15.85), (14.265,17.04,14.665,17.84), (19.235,17.34,21.305,17.54), (26.155,17.34,28.225,17.54), (5.19,21.46,34.28,21.96)])
R(cmos_s0_g_vdd, via, [(1.835,4.295,1.985,4.445), (14.39,4.295,14.54,4.445), (1.835,4.695,1.985,4.845), (14.39,4.695,14.54,4.845), (2.405,5.62,2.555,5.77), (16.61,5.7,16.76,5.85), (2.405,6.02,2.555,6.17), (16.61,6.1,16.76,6.25), (28.35,6.225,28.5,6.375), (13.24,6.54,13.39,6.69), (28.35,6.545,28.5,6.695), (13.24,6.86,13.39,7.01), (22.42,6.87,22.57,7.02), (22.78,6.87,22.93,7.02), (21.43,15.12,21.58,15.27), (21.43,15.44,21.58,15.59), (2.975,15.47,3.125,15.62), (28.35,15.51,28.5,15.66), (14.39,15.72,14.54,15.87), (28.35,15.83,28.5,15.98), (2.975,15.87,3.125,16.02), (14.39,16.12,14.54,16.27), (1.265,17.17,1.415,17.32), (14.39,17.17,14.54,17.32), (1.265,17.57,1.415,17.72), (14.39,17.57,14.54,17.72)])
R(cmos_s0_g_vdd, met2, [(1.71,4.165,2.11,4.965), (14.265,4.165,14.665,4.965), (2.28,5.49,2.68,6.29), (16.485,5.57,16.885,6.37), (28.225,6.1,28.625,16.115), (13.115,6.415,13.515,6.86), (22.285,6.745,23.055,6.86), (13.115,6.86,23.055,7.06), (13.115,7.06,13.515,7.145), (22.285,7.06,23.055,7.145), (21.305,14.995,21.705,15.25), (10.45,15.25,21.705,15.45), (2.85,15.34,3.25,16.14), (21.305,15.45,21.705,15.725), (14.265,15.59,14.665,16.39), (1.14,17.04,1.54,17.84), (14.265,17.04,14.665,17.84)])
R(cmos_s0_g_vdd, via2, [(1.81,4.27,2.01,4.47), (14.365,4.27,14.565,4.47), (1.81,4.67,2.01,4.87), (14.365,4.67,14.565,4.87), (2.38,5.595,2.58,5.795), (16.585,5.675,16.785,5.875), (2.38,5.995,2.58,6.195), (16.585,6.075,16.785,6.275), (2.95,15.445,3.15,15.645), (14.365,15.695,14.565,15.895), (2.95,15.845,3.15,16.045), (14.365,16.095,14.565,16.295), (1.24,17.145,1.44,17.345), (14.365,17.145,14.565,17.345), (1.24,17.545,1.44,17.745), (14.365,17.545,14.565,17.745)])
R(cmos_s0_g_vdd, met3, [(1.66,4.115,2.16,4.365), (14.215,4.115,14.715,4.365), (1.66,4.365,14.715,4.765), (1.66,4.765,2.16,5.015), (14.215,4.765,14.715,5.015), (2.23,5.44,2.73,5.69), (16.435,5.52,16.935,5.69), (2.23,5.69,16.935,6.09), (2.23,6.09,2.73,6.34), (16.435,6.09,16.935,6.42), (2.8,15.29,3.3,15.54), (2.8,15.54,14.715,15.94), (2.8,15.94,3.3,16.19), (14.215,15.94,14.715,16.44), (1.09,16.99,1.59,17.24), (14.215,16.99,14.715,17.24), (1.09,17.24,14.715,17.64), (1.09,17.64,1.59,17.89), (14.215,17.64,14.715,17.89)])
cmos_s0_g_vdd.add(gdstk.Reference(cmos_xor_g_vdd, (5.91,10.73)))
cmos_s0_g_vdd.add(gdstk.Reference(cmos_xnor_g_vdd, (5.91,11.48), x_reflection=True))
cmos_s0_g_vdd.add(gdstk.Reference(cmos_or_g_vdd, (14.385,11.415)))
cmos_s0_g_vdd.add(gdstk.Reference(cmos_or_g_vdd, (28.225,11.415)))
cmos_s0_g_vdd.add(gdstk.Reference(cmos_and_g_vdd, (21.305,10.795), x_reflection=True))
cmos_s0_g_vdd.add(gdstk.Reference(cmos_and_g_vdd, (21.305,11.415)))
cmos_s0_g_vdd.add(gdstk.Reference(cmos_and_g_vdd, (14.385,10.795), x_reflection=True))
cmos_s0_g_vdd.add(gdstk.Label('x0', (0.2,21.76), layer=68, texttype=5))
cmos_s0_g_vdd.add(gdstk.Label('x0_bar', (0.77,21.76), layer=68, texttype=5))
cmos_s0_g_vdd.add(gdstk.Label('x1', (1.34,21.76), layer=68, texttype=5))
cmos_s0_g_vdd.add(gdstk.Label('x1_bar', (1.91,21.76), layer=68, texttype=5))
cmos_s0_g_vdd.add(gdstk.Label('x2', (2.48,21.76), layer=68, texttype=5))
cmos_s0_g_vdd.add(gdstk.Label('x2_bar', (3.05,21.76), layer=68, texttype=5))
cmos_s0_g_vdd.add(gdstk.Label('x3', (3.62,21.76), layer=68, texttype=5))
cmos_s0_g_vdd.add(gdstk.Label('x3_bar', (4.19,21.76), layer=68, texttype=5))
cmos_s0_g_vdd.add(gdstk.Label('VDD', (5.39,21.76), layer=68, texttype=5))
cmos_s0_g_vdd.add(gdstk.Label('GND', (4.79,21.76), layer=68, texttype=5))
cmos_s0_g_vdd.add(gdstk.Label('s0', (34.175,15.75), layer=68, texttype=5))

lib.write_gds('CMOS_s0_G_VDD.gds')
